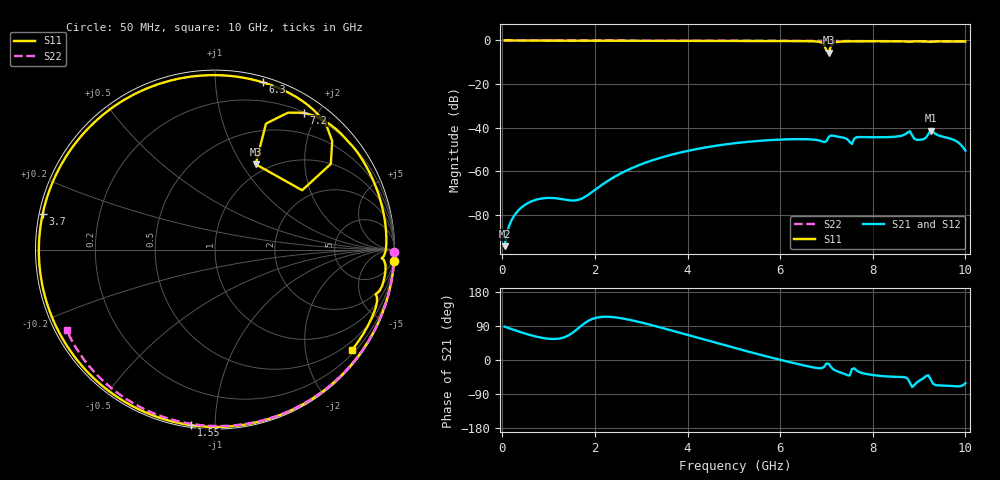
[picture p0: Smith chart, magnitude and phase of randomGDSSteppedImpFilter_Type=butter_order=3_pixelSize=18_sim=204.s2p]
! freq	dB(S11)	phase(S11)	dB(S12)	phase(S12)
!  dB(S21)	phase(S21)	dB(S22)	phase(S22)
!S-par simulation data
#  GHz  S  DB  R 50
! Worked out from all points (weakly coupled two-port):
!   200 points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, 50 MHz to 10 GHz, reference 50 ohm
!   highest |S21| = -41.32 dB at 9.25 GHz (marker M1); lowest = -94.2 dB at 50 MHz (marker M2)
!   lowest |S11| = -5.6 dB at 7.05 GHz (marker M3), VSWR 3.23, Z = 43.8 + j57.7 ohm
!   |S11| at or under -10 dB: nowhere
!   |S22| runs from -0.6 to 0.0 dB; largest |S21 - S12| = 0
!   S11 on the Smith chart (normalised r, x): 50 MHz: 0, -33; 1.55 GHz: 0.01, -0.87; 3.7 GHz: 0.01, +0.10; 6.3 GHz: 0.04, +1.32; 7.2 GHz: 0.21, +1.82; 10 GHz: 0.29, -3.04
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0.05  -0.00 -3.5  -94.21 88.0  -94.21 88.0  -0.00 -0.9
0.85  -0.07 -56.9  -72.38 58.7  -72.38 58.7  -0.02 -14.6
1.55  -0.11 -97.7  -73.28 74.7  -73.28 74.7  -0.03 -26.5
1.75  -0.12 -108.3  -72.06 94.6  -72.06 94.6  -0.04 -29.9
2.55  -0.14 -145.9  -60.98 110.6  -60.98 110.6  -0.06 -43.1
3.4  -0.16 179.6  -53.83 86.4  -53.83 86.4  -0.08 -56.7
3.7  -0.17 168.2  -52.08 76.4  -52.08 76.4  -0.08 -61.4
5.05  -0.22 119.4  -46.98 30.8  -46.98 30.8  -0.13 -81.9
6.3  -0.27 74.1  -45.21 -8.3  -45.21 -8.3  -0.18 -99.9
6.7  -0.38 57.2  -45.37 -19.2  -45.37 -19.2  -0.21 -105.5
6.95  -1.91 36.5  -46.59 -17.8  -46.59 -17.8  -0.22 -109.0
7  -4.62 34.3  -46.09 -9.1  -46.09 -9.1  -0.22 -109.7
7.05  -5.57 64.5  -44.10 -10.0  -44.10 -10.0  -0.23 -110.4
7.1  -2.41 68.0  -43.52 -19.1  -43.52 -19.1  -0.23 -111.1
7.2  -0.83 57.0  -43.89 -28.1  -43.89 -28.1  -0.24 -112.4
7.55  -0.39 38.7  -47.42 -24.0  -47.42 -24.0  -0.28 -117.2
7.65  -0.35 34.8  -44.33 -27.7  -44.33 -27.7  -0.27 -118.6
8.35  -0.35 10.6  -44.25 -43.7  -44.25 -43.7  -0.33 -128.1
8.8  -0.63 -3.0  -41.57 -59.8  -41.57 -59.8  -0.38 -134.2
9.05  -0.40 -10.5  -45.40 -51.4  -45.40 -51.4  -0.40 -137.7
9.25  -0.65 -15.5  -41.32 -51.0  -41.32 -51.0  -0.42 -140.5
10  -0.48 -36.2  -50.44 -61.1  -50.44 -61.1  -0.55 -151.5
